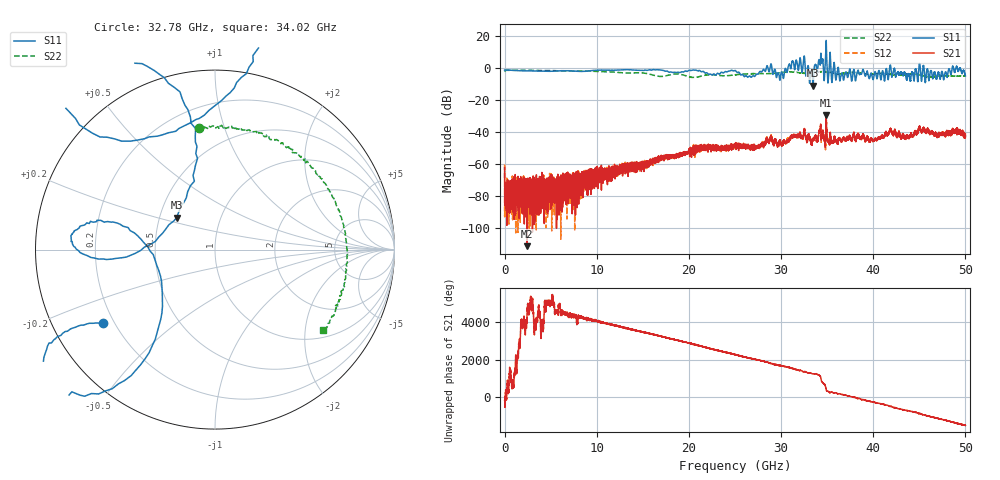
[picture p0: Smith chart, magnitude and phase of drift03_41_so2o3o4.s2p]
!Created with skrf (http://scikit-rf.org).
# Hz S RI R 50.0
!freq ReS11 ImS11 ReS21 ImS21 ReS12 ImS12 ReS22 ImS22
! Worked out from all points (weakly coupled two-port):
!   10001 points, 300 kHz to 50 GHz, reference 50 ohm
!   highest |S21| = -29.55 dB at 34.9 GHz (marker M1); lowest = -111.3 dB at 2.445 GHz (marker M2)
!   lowest |S11| = -11.1 dB at 33.47 GHz (marker M3), VSWR 1.77, Z = 30.7 + j11.8 ohm
!   |S11| at or under -10 dB: 33.44666 GHz to 33.48595 GHz (39.29 MHz wide, 0.117 % of centre)
!   |S22| runs from -5.9 to -1.3 dB; largest |S21 - S12| = 0.0076
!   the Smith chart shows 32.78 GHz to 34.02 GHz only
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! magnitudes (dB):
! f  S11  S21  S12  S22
! 300 kHz  -1.3  -62.1  -60.4  -2.1
! 255.3 MHz  -1.3  -76.8  -80.0  -1.4
! 2.445 GHz  -1.8  -111.3  -81.8  -1.4
! 8.335 GHz  -2.2  -74.4  -68.6  -1.9
! 16.67 GHz  -1.1  -56.2  -57.4  -5.2
! 25 GHz  -1.5  -47.6  -49.2  -4.3
! 26.92 GHz  -4.9  -49.3  -50.4  -3.6
! 28.73 GHz  -2.2  -44.8  -45.3  -3.5
! 30.06 GHz  -2.5  -48.1  -48.0  -2.8
! 31.08 GHz  -0.3  -43.0  -42.7  -2.4
! 31.87 GHz  -1.4  -43.2  -41.6  -2.9
! 33.34 GHz  -2.2  -47.7  -47.1  -2.9
! 33.47 GHz  -11.1  -45.6  -45.5  -2.8
! 34.3 GHz  7.7  -35.0  -35.2  -2.3
! 34.9 GHz  17.2  -29.5  -31.8  -2.3
! 36.58 GHz  -3.5  -46.2  -46.1  -3.6
! 40.14 GHz  -3.3  -44.6  -44.5  -3.8
! 41.67 GHz  -5.6  -41.6  -40.6  -3.7
! 45.22 GHz  -8.0  -39.6  -39.2  -4.5
! 47.06 GHz  -2.8  -41.4  -41.4  -5.1
! 49.21 GHz  -2.1  -40.4  -39.4  -5.1
! 50 GHz  -4.9  -42.8  -42.0  -5.0
